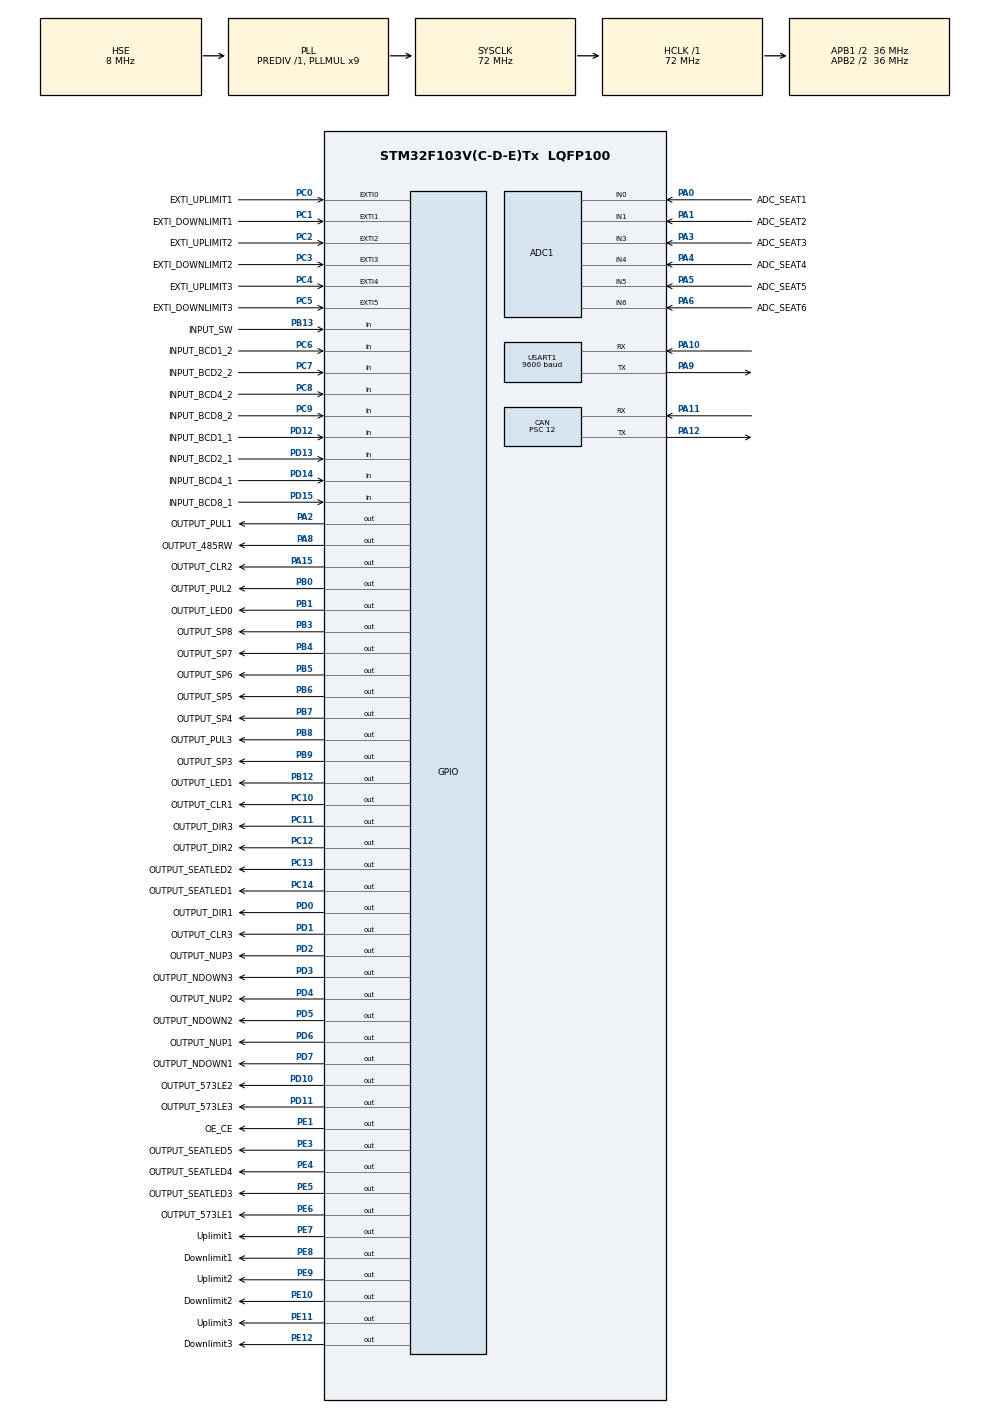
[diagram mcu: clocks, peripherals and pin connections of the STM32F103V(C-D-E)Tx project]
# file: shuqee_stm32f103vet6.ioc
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ADC1.Channel-0\#ChannelRegularConversion=ADC_CHANNEL_0
ADC1.Channel-1\#ChannelRegularConversion=ADC_CHANNEL_1
ADC1.Channel-2\#ChannelRegularConversion=ADC_CHANNEL_3
ADC1.Channel-3\#ChannelRegularConversion=ADC_CHANNEL_4
ADC1.Channel-4\#ChannelRegularConversion=ADC_CHANNEL_5
ADC1.Channel-5\#ChannelRegularConversion=ADC_CHANNEL_6
ADC1.ContinuousConvMode=ENABLE
ADC1.DataAlign=ADC_DATAALIGN_RIGHT
ADC1.DiscontinuousConvMode=DISABLE
ADC1.EnableAnalogWatchDog=false
ADC1.EnableRegularConversion=ENABLE
ADC1.ExternalTrigConv=ADC_SOFTWARE_START
ADC1.InjNumberOfConversion=0
ADC1.NbrOfConversion=6
ADC1.NbrOfConversionFlag=1
ADC1.Rank-0\#ChannelRegularConversion=1
ADC1.Rank-1\#ChannelRegularConversion=2
ADC1.Rank-2\#ChannelRegularConversion=3
ADC1.Rank-3\#ChannelRegularConversion=4
ADC1.Rank-4\#ChannelRegularConversion=5
ADC1.Rank-5\#ChannelRegularConversion=6
ADC1.SamplingTime-0\#ChannelRegularConversion=ADC_SAMPLETIME_239CYCLES_5
ADC1.SamplingTime-1\#ChannelRegularConversion=ADC_SAMPLETIME_239CYCLES_5
ADC1.SamplingTime-2\#ChannelRegularConversion=ADC_SAMPLETIME_239CYCLES_5
ADC1.SamplingTime-3\#ChannelRegularConversion=ADC_SAMPLETIME_239CYCLES_5
ADC1.SamplingTime-4\#ChannelRegularConversion=ADC_SAMPLETIME_239CYCLES_5
ADC1.SamplingTime-5\#ChannelRegularConversion=ADC_SAMPLETIME_239CYCLES_5
ADC1.ScanConvMode=ADC_SCAN_ENABLE
ADC1.master=1
CAN.BS1=CAN_BS1_5TQ
CAN.BS2=CAN_BS2_6TQ
CAN.CalculateTimeBit=4000
CAN.CalculateTimeQuantum=333.33333333333337
CAN.Prescaler=12
Dma.ADC1.0.Direction=DMA_PERIPH_TO_MEMORY
Dma.ADC1.0.Instance=DMA1_Channel1
Dma.ADC1.0.MemDataAlignment=DMA_MDATAALIGN_HALFWORD
Dma.ADC1.0.MemInc=DMA_MINC_ENABLE
Dma.ADC1.0.Mode=DMA_CIRCULAR
Dma.ADC1.0.PeriphDataAlignment=DMA_PDATAALIGN_HALFWORD
Dma.ADC1.0.PeriphInc=DMA_PINC_DISABLE
Dma.ADC1.0.Priority=DMA_PRIORITY_LOW
Dma.Request0=ADC1
Mcu.Family=STM32F1
Mcu.Name=STM32F103V(C-D-E)Tx
Mcu.Package=LQFP100
NVIC.DMA1_Channel1_IRQn=true\:4\:0\:true\:false\:true\:true
NVIC.EXTI0_IRQn=true\:0\:0\:false\:false\:true\:true
NVIC.EXTI1_IRQn=true\:0\:0\:false\:false\:true\:true
NVIC.EXTI2_IRQn=true\:0\:0\:false\:false\:true\:true
NVIC.EXTI3_IRQn=true\:0\:0\:false\:false\:true\:true
NVIC.EXTI4_IRQn=true\:0\:0\:false\:false\:true\:true
NVIC.EXTI9_5_IRQn=true\:0\:0\:true\:false\:true\:true
NVIC.PriorityGroup=NVIC_PRIORITYGROUP_4
NVIC.TIM1_UP_IRQn=true\:1\:0\:true\:false\:true\:true
NVIC.TIM2_IRQn=true\:1\:0\:true\:false\:true\:true
NVIC.TIM3_IRQn=true\:1\:0\:true\:false\:true\:true
NVIC.USB_LP_CAN1_RX0_IRQn=true\:2\:0\:true\:false\:true\:true
OSC_IN.Mode=HSE-External-Oscillator
OSC_IN.Signal=RCC_OSC_IN
OSC_OUT.Mode=HSE-External-Oscillator
OSC_OUT.Signal=RCC_OSC_OUT
PA0-WKUP.GPIO_Label=ADC_SEAT1
PA0-WKUP.Signal=ADCx_IN0
PA1.GPIO_Label=ADC_SEAT2
PA1.Signal=ADCx_IN1
PA10.Mode=Asynchronous
PA10.Signal=USART1_RX
PA11.Mode=Master
PA11.Signal=CAN_RX
PA12.Mode=Master
PA12.Signal=CAN_TX
PA13.Mode=Serial_Wire
PA13.Signal=SYS_JTMS-SWDIO
PA14.Mode=Serial_Wire
PA14.Signal=SYS_JTCK-SWCLK
PA15.GPIO_Label=OUTPUT_CLR2
PA15.GPIO_Speed=GPIO_SPEED_FREQ_HIGH
PA15.Signal=GPIO_Output
PA2.GPIO_Label=OUTPUT_PUL1
PA2.GPIO_Speed=GPIO_SPEED_FREQ_HIGH
PA2.Signal=GPIO_Output
PA3.GPIO_Label=ADC_SEAT3
PA3.Signal=ADCx_IN3
PA4.GPIO_Label=ADC_SEAT4
PA4.Signal=ADCx_IN4
PA5.GPIO_Label=ADC_SEAT5
PA5.Signal=ADCx_IN5
PA6.GPIO_Label=ADC_SEAT6
PA6.Signal=ADCx_IN6
PA8.GPIO_Label=OUTPUT_485RW
PA8.GPIO_Speed=GPIO_SPEED_FREQ_HIGH
PA8.PinState=GPIO_PIN_SET
PA8.Signal=GPIO_Output
PA9.Mode=Asynchronous
PA9.Signal=USART1_TX
PB0.GPIO_Label=OUTPUT_PUL2
PB0.GPIO_Speed=GPIO_SPEED_FREQ_HIGH
PB0.Signal=GPIO_Output
PB1.GPIO_Label=OUTPUT_LED0
PB1.GPIO_Speed=GPIO_SPEED_FREQ_HIGH
PB1.Signal=GPIO_Output
PB12.GPIO_Label=OUTPUT_LED1
PB12.GPIO_Speed=GPIO_SPEED_FREQ_HIGH
PB12.Signal=GPIO_Output
PB13.GPIO_Label=INPUT_SW
PB13.Signal=GPIO_Input
PB3.GPIO_Label=OUTPUT_SP8
PB3.GPIO_Speed=GPIO_SPEED_FREQ_HIGH
PB3.PinState=GPIO_PIN_SET
PB3.Signal=GPIO_Output
PB4.GPIO_Label=OUTPUT_SP7
PB4.GPIO_Speed=GPIO_SPEED_FREQ_HIGH
PB4.PinState=GPIO_PIN_SET
PB4.Signal=GPIO_Output
PB5.GPIO_Label=OUTPUT_SP6
PB5.GPIO_Speed=GPIO_SPEED_FREQ_HIGH
PB5.PinState=GPIO_PIN_SET
PB5.Signal=GPIO_Output
PB6.GPIO_Label=OUTPUT_SP5
PB6.GPIO_Speed=GPIO_SPEED_FREQ_HIGH
PB6.PinState=GPIO_PIN_SET
PB6.Signal=GPIO_Output
PB7.GPIO_Label=OUTPUT_SP4
PB7.GPIO_Speed=GPIO_SPEED_FREQ_HIGH
PB7.PinState=GPIO_PIN_SET
PB7.Signal=GPIO_Output
PB8.GPIO_Label=OUTPUT_PUL3
PB8.GPIO_Speed=GPIO_SPEED_FREQ_HIGH
PB8.Signal=GPIO_Output
PB9.GPIO_Label=OUTPUT_SP3
PB9.GPIO_Speed=GPIO_SPEED_FREQ_HIGH
PB9.PinState=GPIO_PIN_SET
PB9.Signal=GPIO_Output
PC0.GPIO_Label=EXTI_UPLIMIT1
PC0.GPIO_ModeDefaultEXTI=GPIO_MODE_IT_RISING_FALLING
PC0.Signal=GPXTI0
PC1.GPIO_Label=EXTI_DOWNLIMIT1
PC1.GPIO_ModeDefaultEXTI=GPIO_MODE_IT_RISING_FALLING
PC1.Signal=GPXTI1
PC10.GPIO_Label=OUTPUT_CLR1
PC10.GPIO_Speed=GPIO_SPEED_FREQ_HIGH
PC10.Signal=GPIO_Output
PC11.GPIO_Label=OUTPUT_DIR3
PC11.GPIO_Speed=GPIO_SPEED_FREQ_HIGH
PC11.Signal=GPIO_Output
PC12.GPIO_Label=OUTPUT_DIR2
PC12.GPIO_Speed=GPIO_SPEED_FREQ_HIGH
PC12.Signal=GPIO_Output
PC13-TAMPER-RTC.GPIO_Label=OUTPUT_SEATLED2
PC13-TAMPER-RTC.GPIO_Speed=GPIO_SPEED_FREQ_HIGH
PC13-TAMPER-RTC.Signal=GPIO_Output
PC14-OSC32_IN.GPIO_Label=OUTPUT_SEATLED1
PC14-OSC32_IN.GPIO_Speed=GPIO_SPEED_FREQ_HIGH
PC14-OSC32_IN.Signal=GPIO_Output
PC2.GPIO_Label=EXTI_UPLIMIT2
PC2.GPIO_ModeDefaultEXTI=GPIO_MODE_IT_RISING_FALLING
PC2.Signal=GPXTI2
PC3.GPIO_Label=EXTI_DOWNLIMIT2
PC3.GPIO_ModeDefaultEXTI=GPIO_MODE_IT_RISING_FALLING
PC3.Signal=GPXTI3
PC4.GPIO_Label=EXTI_UPLIMIT3
PC4.GPIO_ModeDefaultEXTI=GPIO_MODE_IT_RISING_FALLING
PC4.Signal=GPXTI4
PC5.GPIO_Label=EXTI_DOWNLIMIT3
PC5.GPIO_ModeDefaultEXTI=GPIO_MODE_IT_RISING_FALLING
PC5.Signal=GPXTI5
PC6.GPIO_Label=INPUT_BCD1_2
PC6.Signal=GPIO_Input
PC7.GPIO_Label=INPUT_BCD2_2
PC7.Signal=GPIO_Input
PC8.GPIO_Label=INPUT_BCD4_2
PC8.Signal=GPIO_Input
PC9.GPIO_Label=INPUT_BCD8_2
PC9.Signal=GPIO_Input
PD0.GPIO_Label=OUTPUT_DIR1
PD0.GPIO_Speed=GPIO_SPEED_FREQ_HIGH
PD0.Signal=GPIO_Output
PD1.GPIO_Label=OUTPUT_CLR3
PD1.GPIO_Speed=GPIO_SPEED_FREQ_HIGH
PD1.Signal=GPIO_Output
PD10.GPIO_Label=OUTPUT_573LE2
PD10.GPIO_Speed=GPIO_SPEED_FREQ_HIGH
PD10.PinState=GPIO_PIN_RESET
PD10.Signal=GPIO_Output
PD11.GPIO_Label=OUTPUT_573LE3
PD11.GPIO_Speed=GPIO_SPEED_FREQ_HIGH
PD11.PinState=GPIO_PIN_RESET
PD11.Signal=GPIO_Output
PD12.GPIO_Label=INPUT_BCD1_1
PD12.Signal=GPIO_Input
PD13.GPIO_Label=INPUT_BCD2_1
PD13.Signal=GPIO_Input
PD14.GPIO_Label=INPUT_BCD4_1
PD14.Signal=GPIO_Input
PD15.GPIO_Label=INPUT_BCD8_1
PD15.Signal=GPIO_Input
PD2.GPIO_Label=OUTPUT_NUP3
PD2.GPIO_Speed=GPIO_SPEED_FREQ_HIGH
PD2.Signal=GPIO_Output
PD3.GPIO_Label=OUTPUT_NDOWN3
PD3.GPIO_Speed=GPIO_SPEED_FREQ_HIGH
PD3.Signal=GPIO_Output
PD4.GPIO_Label=OUTPUT_NUP2
PD4.GPIO_Speed=GPIO_SPEED_FREQ_HIGH
PD4.Signal=GPIO_Output
PD5.GPIO_Label=OUTPUT_NDOWN2
PD5.GPIO_Speed=GPIO_SPEED_FREQ_HIGH
PD5.Signal=GPIO_Output
PD6.GPIO_Label=OUTPUT_NUP1
PD6.GPIO_Speed=GPIO_SPEED_FREQ_HIGH
PD6.Signal=GPIO_Output
PD7.GPIO_Label=OUTPUT_NDOWN1
PD7.GPIO_Speed=GPIO_SPEED_FREQ_HIGH
PD7.Signal=GPIO_Output
PE1.GPIO_Label=OE_CE
PE1.Signal=GPIO_Output
PE10.GPIO_Label=Downlimit2
PE10.GPIO_Speed=GPIO_SPEED_FREQ_HIGH
PE10.PinState=GPIO_PIN_SET
PE10.Signal=GPIO_Output
PE11.GPIO_Label=Uplimit3
PE11.GPIO_Speed=GPIO_SPEED_FREQ_HIGH
PE11.PinState=GPIO_PIN_SET
PE11.Signal=GPIO_Output
PE12.GPIO_Label=Downlimit3
PE12.GPIO_Speed=GPIO_SPEED_FREQ_HIGH
PE12.PinState=GPIO_PIN_SET
PE12.Signal=GPIO_Output
PE3.GPIO_Label=OUTPUT_SEATLED5
PE3.GPIO_Speed=GPIO_SPEED_FREQ_HIGH
PE3.PinState=GPIO_PIN_RESET
PE3.Signal=GPIO_Output
PE4.GPIO_Label=OUTPUT_SEATLED4
PE4.GPIO_Speed=GPIO_SPEED_FREQ_HIGH
PE4.Signal=GPIO_Output
PE5.GPIO_Label=OUTPUT_SEATLED3
PE5.GPIO_Speed=GPIO_SPEED_FREQ_HIGH
PE5.Signal=GPIO_Output
PE6.GPIO_Label=OUTPUT_573LE1
PE6.GPIO_Speed=GPIO_SPEED_FREQ_HIGH
PE6.PinState=GPIO_PIN_RESET
PE6.Signal=GPIO_Output
PE7.GPIO_Label=Uplimit1
PE7.GPIO_Speed=GPIO_SPEED_FREQ_HIGH
PE7.PinState=GPIO_PIN_SET
PE7.Signal=GPIO_Output
PE8.GPIO_Label=Downlimit1
PE8.GPIO_Speed=GPIO_SPEED_FREQ_HIGH
PE8.PinState=GPIO_PIN_SET
PE8.Signal=GPIO_Output
PE9.GPIO_Label=Uplimit2
PE9.GPIO_Speed=GPIO_SPEED_FREQ_HIGH
PE9.PinState=GPIO_PIN_SET
PE9.Signal=GPIO_Output
ProjectManager.HeapSize=0x200
ProjectManager.StackSize=0x400
ProjectManager.TargetToolchain=MDK-ARM V5
RCC.ADCPresc=RCC_ADCPCLK2_DIV8
RCC.AHBFreq_Value=72000000
RCC.APB1CLKDivider=RCC_HCLK_DIV2
RCC.APB1Freq_Value=36000000
RCC.APB1TimFreq_Value=72000000
RCC.APB2CLKDivider=RCC_HCLK_DIV2
RCC.APB2Freq_Value=36000000
RCC.APB2TimFreq_Value=72000000
RCC.HCLKFreq_Value=72000000
RCC.PLLMUL=RCC_PLL_MUL9
RCC.PLLSourceVirtual=RCC_PLLSOURCE_HSE
RCC.SYSCLKFreq_VALUE=72000000
RCC.SYSCLKSource=RCC_SYSCLKSOURCE_PLLCLK
RCC.USBFreq_Value=72000000
SH.ADCx_IN0.0=ADC1_IN0,IN0
SH.ADCx_IN1.0=ADC1_IN1,IN1
SH.ADCx_IN3.0=ADC1_IN3,IN3
SH.ADCx_IN4.0=ADC1_IN4,IN4
SH.ADCx_IN5.0=ADC1_IN5,IN5
SH.ADCx_IN6.0=ADC1_IN6,IN6
TIM1.Period=999
TIM1.Prescaler=71
TIM2.Period=999
TIM2.Prescaler=71
TIM3.Period=999
TIM3.Prescaler=71
USART1.BaudRate=9600
USART1.VirtualMode=VM_ASYNC
VP_IWDG_VS_IWDG.Mode=IWDG_Activate
VP_TIM1_VS_ClockSourceINT.Mode=Internal
VP_TIM2_VS_ClockSourceINT.Mode=Internal
VP_TIM3_VS_ClockSourceINT.Mode=Internal
board=shuqee_stm32f103vet6

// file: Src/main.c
/**
  ******************************************************************************
  * File Name          : main.c
  * Description        : Main program body
  ******************************************************************************
  ** This notice applies to any and all portions of this file
  * that are not between comment pairs USER CODE BEGIN and
  * USER CODE END. Other portions of this file, whether
  * inserted by the user or by software development tools
  * are owned by their respective copyright owners.
  *
  * COPYRIGHT(c) 2018 STMicroelectronics
  *
  * Redistribution and use in source and binary forms, with or without modification,
  * are permitted provided that the following conditions are met:
  *   1. Redistributions of source code must retain the above copyright notice,
  *      this list of conditions and the following disclaimer.
  *   2. Redistributions in binary form must reproduce the above copyright notice,
  *      this list of conditions and the following disclaimer in the documentation
  *      and/or other materials provided with the distribution.
  *   3. Neither the name of STMicroelectronics nor the names of its contributors
  *      may be used to endorse or promote products derived from this software
  *      without specific prior written permission.
  *
  * THIS SOFTWARE IS PROVIDED BY THE COPYRIGHT HOLDERS AND CONTRIBUTORS "AS IS"
  * AND ANY EXPRESS OR IMPLIED WARRANTIES, INCLUDING, BUT NOT LIMITED TO, THE
  * IMPLIED WARRANTIES OF MERCHANTABILITY AND FITNESS FOR A PARTICULAR PURPOSE ARE
  * DISCLAIMED. IN NO EVENT SHALL THE COPYRIGHT HOLDER OR CONTRIBUTORS BE LIABLE
  * FOR ANY DIRECT, INDIRECT, INCIDENTAL, SPECIAL, EXEMPLARY, OR CONSEQUENTIAL
  * DAMAGES (INCLUDING, BUT NOT LIMITED TO, PROCUREMENT OF SUBSTITUTE GOODS OR
  * SERVICES; LOSS OF USE, DATA, OR PROFITS; OR BUSINESS INTERRUPTION) HOWEVER
  * CAUSED AND ON ANY THEORY OF LIABILITY, WHETHER IN CONTRACT, STRICT LIABILITY,
  * OR TORT (INCLUDING NEGLIGENCE OR OTHERWISE) ARISING IN ANY WAY OUT OF THE USE
  * OF THIS SOFTWARE, EVEN IF ADVISED OF THE POSSIBILITY OF SUCH DAMAGE.
  *
  ******************************************************************************
  */

#include "main.h"
#include "stm32f1xx_hal.h"

/* USER CODE BEGIN Includes */
#include "user_config.h"
#include "user_io.h"
#include "user_time.h"
#include "user_uart.h"
#include "user_can.h"
#include <string.h>

/* USER CODE END Includes */

ADC_HandleTypeDef hadc1;
DMA_HandleTypeDef hdma_adc1;

CAN_HandleTypeDef hcan;

IWDG_HandleTypeDef hiwdg;

TIM_HandleTypeDef htim1;
TIM_HandleTypeDef htim2;
TIM_HandleTypeDef htim3;

UART_HandleTypeDef huart1;

/* USER CODE BEGIN PV */
/* Private variables ---------------------------------------------------------*/

struct motion_status motion[MOTION_COUNT] = {MOTION1};
struct status status = {0};
int flag_rst = 0;	//reset flag
uint8_t f1,f2,f3,f4,f5,f6;
/* USER CODE END PV */

void SystemClock_Config(void);
static void MX_GPIO_Init(void);
static void MX_DMA_Init(void);
static void MX_ADC1_Init(void);
static void MX_TIM1_Init(void);
static void MX_TIM2_Init(void);
static void MX_TIM3_Init(void);
static void MX_USART1_UART_Init(void);
static void MX_IWDG_Init(void);
static void MX_CAN_Init(void);

/* USER CODE BEGIN PFP */
/* Private function prototypes -----------------------------------------------*/

/* USER CODE END PFP */

/* USER CODE BEGIN 0 */

void delay_ns(uint32_t times)
{
	while(times--);
}

void delay_us(uint32_t times)
{
	int i;
	uint32_t count;
	for(i=0; i<10; i++)
	{
		count = times;
		while(count--);
	}
}

void delay_ms(uint32_t times)
{
	uint32_t count;
	count = times;
	while(count--)
		delay_us(1000);
}

#ifdef ENV_RESET
void find_origin(void) /* reset function */
{
	enum motion_num i;
	uint8_t downlimit_temp = 0;
	int def_high[MOTION_COUNT] = {0};
	int find_origin_step[MOTION_COUNT] = {0};
	for(i=MOTION1; i<MOTION_COUNT; i++)
	flag_rst |= 1<<i; /* 初始化复位标�?(缸对应位初始值为1,复位后缸对应位为0) */
#ifndef MOTION1_ENABLE
	flag_rst &= ~(1<<MOTION1);
#endif
#ifndef MOTION2_ENABLE
	flag_rst &= ~(1<<MOTION2);
#endif
#ifndef MOTION3_ENABLE
	flag_rst &= ~(1<<MOTION3);
#endif
	while(flag_rst)	/* 仍有缸未复位 */
	{
		for(i=MOTION1; i<MOTION_COUNT; i++)
		{
			if((flag_rst&(1<<i)) != 0)	/* 未复�? */
			{
				SAFE(downlimit_temp = status.downlimit[i]);
				switch (find_origin_step[i])
				{
					case 0:
						if (i == MOTION1)
						{
							LED_SEAT1(1);
							LED_SEAT2(1);
						}
						if (i == MOTION3)
						{
							LED_SEAT3(1);
							LED_SEAT4(1);
						}
						if (downlimit_temp == 0) /* 缸未到底 */
						{
							HAL_GPIO_WritePin(motion[i].io.ndown_port, motion[i].io.ndown_pin, GPIO_PIN_SET); /* 允许下降 */
							set_pul(i, (GPIO_PinState)1, 200, 1); /* 向下运动 */
						}
						else
						{
							++find_origin_step[i];
						}
						break;
					case 1:
						if (i == MOTION1)
						{
							LED_SEAT1(0);
							LED_SEAT2(1);
						}
						if (i == MOTION3)
						{
							LED_SEAT3(0);
							LED_SEAT4(1);
						}
						if (downlimit_temp == 1) /* 缸到�? */
						{
							HAL_GPIO_WritePin(motion[i].io.nup_port, motion[i].io.nup_pin, GPIO_PIN_SET); /* 允许上升 */
							set_pul(i, (GPIO_PinState)0, 200, 1); /* 向上运动 */
						}
						else
						{
							++find_origin_step[i];
						}
						break;
					case 2:
						if (i == MOTION1)
						{
							LED_SEAT1(1);
							LED_SEAT2(0);
						}
						if (i == MOTION3)
						{
							LED_SEAT3(1);
							LED_SEAT4(0);
						}
						if (downlimit_temp == 0) /* 缸未到底 */
						{
							HAL_GPIO_WritePin(motion[i].io.ndown_port, motion[i].io.ndown_pin, GPIO_PIN_SET); /* 允许下降 */
							set_pul(i, (GPIO_PinState)1, 200, 1); /* 向下运动 */
						}
						else
						{
							HAL_GPIO_WritePin(motion[i].io.nup_port, motion[i].io.nup_pin, GPIO_PIN_SET); /* 允许上升 */
							++find_origin_step[i];
						}
						break;
					case 3:
						if (i == MOTION1)
						{
							LED_SEAT1(0);
							LED_SEAT2(0);
						}
						if (i == MOTION3)
						{
							LED_SEAT3(0);
							LED_SEAT4(0);
						}
						if (motion[i].config.adj == 0) /* 不需要校�? */
							flag_rst &= ~(1<<i); /* 标志复位完成 */
						else
						{
							def_high[i] = motion[i].config.adj * ENV_SPACE;	/* 初始化校正高�? */
							++find_origin_step[i];
						}
						break;
					case 4:
						if (i == MOTION1)
						{
							LED_SEAT1(0);
							LED_SEAT2(0);
						}
						if (i == MOTION3)
						{
							LED_SEAT3(0);
							LED_SEAT4(0);
						}
						if(def_high[i] != 0)
						{
							set_pul(i, (GPIO_PinState)0, 200, 1); /* 向上运动 */
							def_high[i]--;
							if(def_high[i] == 0) /* 运动到指定位�? */
							{
								flag_rst &= ~(1<<i); /* 标志复位完成 */
							}
						}
						break;
					default:
						find_origin_step[i] = 0;
						break;
				}
			}
		}
#ifdef ENV_IWDG
		HAL_IWDG_Refresh(&hiwdg); /* have to refresh the iwdg */
#endif
	}
}
#endif

void exchange_nup_ndown(enum motion_num index)
{
	GPIO_TypeDef * temp_port;
	uint16_t temp_pin;
	temp_port = motion[index].io.nup_port;
	temp_pin = motion[index].io.nup_pin;
	motion[index].io.nup_port = motion[index].io.ndown_port;
	motion[index].io.nup_pin = motion[index].io.ndown_pin;
	motion[index].io.ndown_port = temp_port;
	motion[index].io.ndown_pin = temp_pin;
}

void user_motion_init(void)
{
	enum motion_num i;

	motion[MOTION1].io.dir_port = OUTPUT_DIR1_GPIO_Port;
	motion[MOTION1].io.dir_pin = OUTPUT_DIR1_Pin;
	motion[MOTION1].io.pul_port = OUTPUT_PUL1_GPIO_Port;
	motion[MOTION1].io.pul_pin = OUTPUT_PUL1_Pin;
	motion[MOTION1].io.nup_port = OUTPUT_NUP1_GPIO_Port;
	motion[MOTION1].io.nup_pin = OUTPUT_NUP1_Pin;
	motion[MOTION1].io.ndown_port = OUTPUT_NDOWN1_GPIO_Port;
	motion[MOTION1].io.ndown_pin = OUTPUT_NDOWN1_Pin;
	motion[MOTION2].io.dir_port = OUTPUT_DIR2_GPIO_Port;
	motion[MOTION2].io.dir_pin = OUTPUT_DIR2_Pin;
	motion[MOTION2].io.pul_port = OUTPUT_PUL2_GPIO_Port;
	motion[MOTION2].io.pul_pin = OUTPUT_PUL2_Pin;
	motion[MOTION2].io.nup_port = OUTPUT_NUP2_GPIO_Port;
	motion[MOTION2].io.nup_pin = OUTPUT_NUP2_Pin;
	motion[MOTION2].io.ndown_port = OUTPUT_NDOWN2_GPIO_Port;
	motion[MOTION2].io.ndown_pin = OUTPUT_NDOWN2_Pin;
	motion[MOTION3].io.dir_port = OUTPUT_DIR3_GPIO_Port;
	motion[MOTION3].io.dir_pin = OUTPUT_DIR3_Pin;
	motion[MOTION3].io.pul_port = OUTPUT_PUL3_GPIO_Port;
	motion[MOTION3].io.pul_pin = OUTPUT_PUL3_Pin;
	motion[MOTION3].io.nup_port = OUTPUT_NUP3_GPIO_Port;
	motion[MOTION3].io.nup_pin = OUTPUT_NUP3_Pin;
	motion[MOTION3].io.ndown_port = OUTPUT_NDOWN3_GPIO_Port;
	motion[MOTION3].io.ndown_pin = OUTPUT_NDOWN3_Pin;

	motion[MOTION1].config.dir = MOTION1_CONFIG_DIR;
	motion[MOTION2].config.dir = MOTION2_CONFIG_DIR;
	motion[MOTION3].config.dir = MOTION3_CONFIG_DIR;

	motion[MOTION1].config.origin = MOTION1_CONFIG_ORIGIN;
	motion[MOTION2].config.origin = MOTION2_CONFIG_ORIGIN;
	motion[MOTION3].config.origin = MOTION3_CONFIG_ORIGIN;

	motion[MOTION1].config.adj = MOTION1_CONFIG_ADJ;
	motion[MOTION2].config.adj = MOTION2_CONFIG_ADJ;
	motion[MOTION3].config.adj = MOTION3_CONFIG_ADJ;

	for (i=MOTION1; i<MOTION_COUNT; i++)
	{
		motion[i].index = i;
		motion[i].high.set = motion[i].config.origin * ENV_SPACE;
		if (motion[i].config.dir == GPIO_PIN_SET) /* 如果脉冲方向取反 */
			exchange_nup_ndown(i); /* 正反转禁止对应引脚取�? */
	}
#ifdef ENV_RESET
	find_origin();
#endif
}

#ifdef ENV_NOSENSOR
void free_ndown(void)
{
	enum motion_num i;
	for (i=MOTION1; i<MOTION_COUNT; i++)
	{
		if (motion[i].high.now >= 0 * ENV_SPACE)
			HAL_GPIO_WritePin(motion[i].io.ndown_port, motion[i].io.ndown_pin, GPIO_PIN_SET); /* 允许下降 */
	}
}
void free_nup(void)
{
	enum motion_num i;
	for (i=MOTION1; i<MOTION_COUNT; i++)
	{
		if (motion[i].high.now <= 255 * ENV_SPACE)
			HAL_GPIO_WritePin(motion[i].io.nup_port, motion[i].io.nup_pin, GPIO_PIN_SET); /* 允许上升 */
	}
}
#else
void free_ndown(void)
{
	enum motion_num i;
	for (i=MOTION1; i<MOTION_COUNT; i++)
	{
		if (status.downlimit[i] == 0)
			HAL_GPIO_WritePin(motion[i].io.ndown_port, motion[i].io.ndown_pin, GPIO_PIN_SET); /* 允许下降 */
	}
}
void free_nup(void)
{
	enum motion_num i;
	for (i=MOTION1; i<MOTION_COUNT; i++)
	{
		if (status.uplimit[i] == 0)
			HAL_GPIO_WritePin(motion[i].io.nup_port, motion[i].io.nup_pin, GPIO_PIN_SET); /* 允许上升 */
	}
}
#endif

/* USER CODE END 0 */

int main(void)
{

  /* USER CODE BEGIN 1 */
	static int led_count = 0;
#ifdef ENV_SEAT_PICKING
	static uint8_t seat_picking = 0;
#endif
#ifdef ENV_SEND_SEAT_INFO
	static uint8_t send_seat = 0;
	static uint8_t send_buf[4] = {0xff,0xc1}; /* 回复帧头 */
	static int send_index = 0;
#endif
	uint8_t update; /* 串口数据更新标志 */
	uint8_t init_flag = 0; /* 初始化标准位 */
  /* USER CODE END 1 */

  /* MCU Configuration----------------------------------------------------------*/

  /* Reset of all peripherals, Initializes the Flash interface and the Systick. */
  HAL_Init();

  /* Configure the system clock */
  SystemClock_Config();

  /* USER CODE BEGIN SysInit */
#ifdef ENV_IWDG
  /* USER CODE END SysInit */

  /* Initialize all configured peripherals */
  MX_GPIO_Init();
  MX_DMA_Init();
  MX_ADC1_Init();
  MX_TIM1_Init();
  MX_TIM2_Init();
  MX_TIM3_Init();
  MX_USART1_UART_Init();
  MX_IWDG_Init();
  MX_CAN_Init();

  /* USER CODE BEGIN 2 */
#else

  /* Initialize all configured peripherals */
  MX_GPIO_Init();
  MX_DMA_Init();
  MX_ADC1_Init();
  MX_TIM1_Init();
  MX_TIM2_Init();
  MX_TIM3_Init();
  MX_USART1_UART_Init();
	MX_CAN_Init();
  /* MX_IWDG_Init(); */

#endif
  /* USER CODE END 2 */

  /* Infinite loop */
  while (1)
  {

  /* USER CODE BEGIN 3 */

	memset((void *)motion, 0 ,sizeof(motion));
	status.id = 0;
	status.seat_num = 0;
	status.seat_enable = 0;
	status.spb = 0;
	led_count = 0;
#ifdef ENV_SEAT_PICKING
	seat_picking = 0;
#endif
#ifdef ENV_SEND_SEAT_INFO
	send_seat = 0;
	send_index = 0;
#endif
	user_io_init();
	user_motion_init();
  user_adc_start();
	user_time_init();
	user_can_init();
	user_uart_init();

	init_flag = 1;
	while (init_flag != 0)
	{
#ifdef ENV_IWDG
		HAL_IWDG_Refresh(&hiwdg);
#endif
		status.seat_enable = GET_SEAT_ENABLE();
		SAFE(status.seat_enable += status.seat_num);
		SAFE(update = frame.enable);
		SAFE(free_ndown());
		SAFE(free_nup());
		time_event();
		if(update) /* 串口数据更新 */
		{
			SAFE(frame.enable = 0);
			/*LED_START*/
			led_count++;
			led_count = led_count%10;
			if(led_count == 0)
			{
				LED_TOGGLE(); /* 闪烁指示�? */
			}
			/*LED_END*/
			/*SEAT_START*/
#ifdef ENV_SEAT_PICKING
			if (seat_picking == 0) /* 座椅未被选中 */
			{
				status.seat_enable = 0;
			}
#endif
			if(status.seat_enable) /* 座椅使能 */
			{
				SAFE(status.spb =msg_buff[SP_MSG_ID].date[1]); /* 更新特效 */
				f4=msg_buff[SP_MSG_ID].date[0];
				f5=msg_buff[SP_MSG_ID].date[1];
				f6=msg_buff[SP_MSG_ID].date[2];
#ifdef MOTION1_ENABLE
				SAFE(motion[MOTION1].high.set = msg_buff[HIGHT_MSG_ID].date[0] * ENV_SPACE); /* 更新目标位置 */
				f1=msg_buff[HIGHT_MSG_ID].date[0];
#else
				SAFE(motion[MOTION1].high.set = motion[MOTION1].config.origin * ENV_SPACE); /* 恢复目标位置 */
#endif
#ifdef MOTION2_ENABLE
				SAFE(motion[MOTION2].high.set = msg_buff[HIGHT_MSG_ID].date[1] * ENV_SPACE); /* 更新目标位置 */
				f2=msg_buff[HIGHT_MSG_ID].date[1];
#else
				SAFE(motion[MOTION2].high.set = motion[MOTION2].config.origin * ENV_SPACE); /* 恢复目标位置 */
#endif
#ifdef MOTION3_ENABLE
				SAFE(motion[MOTION3].high.set = msg_buff[HIGHT_MSG_ID].date[2] * ENV_SPACE); /* 更新目标位置 */
				f3=msg_buff[HIGHT_MSG_ID].date[2];
#else
				SAFE(motion[MOTION3].high.set = motion[MOTION3].config.origin * ENV_SPACE); /* 恢复目标位置 */
#endif
			}
			else
			{
				SAFE(motion[MOTION1].high.set = motion[MOTION1].config.origin * ENV_SPACE); /* 恢复目标位置 */
				SAFE(motion[MOTION2].high.set = motion[MOTION2].config.origin * ENV_SPACE); /* 恢复目标位置 */
				SAFE(motion[MOTION3].high.set = motion[MOTION3].config.origin * ENV_SPACE); /* 恢复目标位置 */
				SAFE(status.spb = msg_buff[SP_MSG_ID].date[1]); /* 更新特效 */
#ifdef ENV_SWING_LINK
				SAFE(status.spb &= SPB_AIR_INJECTION_MASK); /* 恢复特效 */
#else
				SAFE(status.spb = 0); /* 恢复特效 */
#endif
			}
			status.id = 0; /* 更新id */
			if(GET_ID_1())
				status.id = status.id + 1;
			if(GET_ID_2())
				status.id = status.id + 2;
			if(GET_ID_4())
				status.id = status.id + 4;
			if(GET_ID_8())
				status.id = status.id + 8;
			if(GET_ID_10())
				status.id = status.id + 10;
			if(GET_ID_20())
				status.id = status.id + 20;
			if(GET_ID_40())
				status.id = status.id + 40;
			if(GET_ID_80())
				status.id = status.id + 80;
#ifdef ENV_SEAT_PICKING
			if (msg_buff[SP_MSG_ID].date[2] == 0xAA) /* 选中�?有座�? */
			{
				seat_picking = 1;
			}
			else if (msg_buff[SP_MSG_ID].date[2]== 0x00) /* 取消选中�?有座�? */
			{
				seat_picking = 0;
			}
			else if (msg_buff[SP_MSG_ID].date[2] == status.id) /* 根据ID选中座椅 */
			{
				seat_picking = 1;
			}
			else
			{
				; /* 维持当前选中或未选中状�?? */
			}
#endif
#ifdef ENV_SEND_SEAT_INFO
			if(msg_buff[SP_MSG_ID].date[2] == status.id) /* 判断座椅编号 */
			{
				if (msg_buff[SP_MSG_ID].date[2] != 0x00)
				{
					send_seat = 1;
					send_buf[2] = status.id;
					SAFE(send_buf[3] = status.seat_num);
				}
			}
#endif
			/*SEAT_END*/
				/*test*/
	HAL_GPIO_WritePin(OUTPUT_485RW_GPIO_Port, OUTPUT_485RW_Pin, GPIO_PIN_RESET);
	printf("\r\nthe HIGHT is %x  %x  %x  %x  %x!\r\n",f1,f2,f3,f4,f5);
		}
		/*SEND_SEAT_START*/
#ifdef ENV_SEND_SEAT_INFO
		if(send_seat)
		{
			HAL_GPIO_WritePin(OUTPUT_485RW_GPIO_Port, OUTPUT_485RW_Pin, GPIO_PIN_RESET); /* 485发�?? */
			if(send_index == 0 || __HAL_UART_GET_FLAG(&huart1, UART_FLAG_TXE) != RESET)
			{
				huart1.Instance->DR = send_buf[send_index];
				send_index++;
			}
			if(send_index == 4)
			{
				send_index = 0;
				send_seat = 0;
			}
		}
		else
		{
			if(__HAL_UART_GET_FLAG(&huart1, UART_FLAG_TXE) != RESET)
			HAL_GPIO_WritePin(OUTPUT_485RW_GPIO_Port, OUTPUT_485RW_Pin, GPIO_PIN_SET); /* 485接收 */
		}
#endif
		/*SEND_SEAT_END*/
		/*SPB_START*/
		SPB3(status.spb&(1<<2)); /* 更新特效到IO输出 */
		SPB4(status.spb&(1<<3));
		SPB5(status.spb&(1<<4));
		SPB6(status.spb&(1<<5));
		SPB7(status.spb&(1<<6));
		SPB8(status.spb&(1<<7));
		/*SPB_END*/
		/*RST_START*/
//		if (status.spb&0x01)
//		{
//			user_adc_stop();
//			user_time_stop();
//			user_uart_stop();
//			init_flag = 0;
//		}
//		else
//		{
//			/*RST_END*/
//			HAL_UART_Receive_IT(&huart1, (uint8_t *)&(frame.data), 1); /* 防止串口出错 */
//		}
	}
  }
  /* USER CODE END 3 */

}

/** System Clock Configuration
*/
void SystemClock_Config(void)
{

  RCC_OscInitTypeDef RCC_OscInitStruct;
  RCC_ClkInitTypeDef RCC_ClkInitStruct;
  RCC_PeriphCLKInitTypeDef PeriphClkInit;

    /**Initializes the CPU, AHB and APB busses clocks
    */
  RCC_OscInitStruct.OscillatorType = RCC_OSCILLATORTYPE_LSI|RCC_OSCILLATORTYPE_HSE;
  RCC_OscInitStruct.HSEState = RCC_HSE_ON;
  RCC_OscInitStruct.HSEPredivValue = RCC_HSE_PREDIV_DIV1;
  RCC_OscInitStruct.HSIState = RCC_HSI_ON;
  RCC_OscInitStruct.LSIState = RCC_LSI_ON;
  RCC_OscInitStruct.PLL.PLLState = RCC_PLL_ON;
  RCC_OscInitStruct.PLL.PLLSource = RCC_PLLSOURCE_HSE;
  RCC_OscInitStruct.PLL.PLLMUL = RCC_PLL_MUL9;
  if (HAL_RCC_OscConfig(&RCC_OscInitStruct) != HAL_OK)
  {
    _Error_Handler(__FILE__, __LINE__);
  }

    /**Initializes the CPU, AHB and APB busses clocks
    */
  RCC_ClkInitStruct.ClockType = RCC_CLOCKTYPE_HCLK|RCC_CLOCKTYPE_SYSCLK
                              |RCC_CLOCKTYPE_PCLK1|RCC_CLOCKTYPE_PCLK2;
  RCC_ClkInitStruct.SYSCLKSource = RCC_SYSCLKSOURCE_PLLCLK;
  RCC_ClkInitStruct.AHBCLKDivider = RCC_SYSCLK_DIV1;
  RCC_ClkInitStruct.APB1CLKDivider = RCC_HCLK_DIV2;
  RCC_ClkInitStruct.APB2CLKDivider = RCC_HCLK_DIV2;

  if (HAL_RCC_ClockConfig(&RCC_ClkInitStruct, FLASH_LATENCY_2) != HAL_OK)
  {
    _Error_Handler(__FILE__, __LINE__);
  }

  PeriphClkInit.PeriphClockSelection = RCC_PERIPHCLK_ADC;
  PeriphClkInit.AdcClockSelection = RCC_ADCPCLK2_DIV8;
  if (HAL_RCCEx_PeriphCLKConfig(&PeriphClkInit) != HAL_OK)
  {
    _Error_Handler(__FILE__, __LINE__);
  }

    /**Configure the Systick interrupt time
    */
  HAL_SYSTICK_Config(HAL_RCC_GetHCLKFreq()/1000);

    /**Configure the Systick
    */
  HAL_SYSTICK_CLKSourceConfig(SYSTICK_CLKSOURCE_HCLK);

  /* SysTick_IRQn interrupt configuration */
  HAL_NVIC_SetPriority(SysTick_IRQn, 5, 0);
}

/* ADC1 init function */
static void MX_ADC1_Init(void)
{

  ADC_ChannelConfTypeDef sConfig;

    /**Common config
    */
  hadc1.Instance = ADC1;
  hadc1.Init.ScanConvMode = ADC_SCAN_ENABLE;
  hadc1.Init.ContinuousConvMode = ENABLE;
  hadc1.Init.DiscontinuousConvMode = DISABLE;
  hadc1.Init.ExternalTrigConv = ADC_SOFTWARE_START;
  hadc1.Init.DataAlign = ADC_DATAALIGN_RIGHT;
  hadc1.Init.NbrOfConversion = 6;
  if (HAL_ADC_Init(&hadc1) != HAL_OK)
  {
    _Error_Handler(__FILE__, __LINE__);
  }

    /**Configure Regular Channel
    */
  sConfig.Channel = ADC_CHANNEL_0;
  sConfig.Rank = 1;
  sConfig.SamplingTime = ADC_SAMPLETIME_239CYCLES_5;
  if (HAL_ADC_ConfigChannel(&hadc1, &sConfig) != HAL_OK)
  {
    _Error_Handler(__FILE__, __LINE__);
  }

    /**Configure Regular Channel
    */
  sConfig.Channel = ADC_CHANNEL_1;
  sConfig.Rank = 2;
  if (HAL_ADC_ConfigChannel(&hadc1, &sConfig) != HAL_OK)
  {
    _Error_Handler(__FILE__, __LINE__);
  }

    /**Configure Regular Channel
    */
  sConfig.Channel = ADC_CHANNEL_3;
  sConfig.Rank = 3;
  if (HAL_ADC_ConfigChannel(&hadc1, &sConfig) != HAL_OK)
  {
    _Error_Handler(__FILE__, __LINE__);
  }

    /**Configure Regular Channel
    */
  sConfig.Channel = ADC_CHANNEL_4;
  sConfig.Rank = 4;
  if (HAL_ADC_ConfigChannel(&hadc1, &sConfig) != HAL_OK)
  {
    _Error_Handler(__FILE__, __LINE__);
  }

    /**Configure Regular Channel
    */
  sConfig.Channel = ADC_CHANNEL_5;
  sConfig.Rank = 5;
  if (HAL_ADC_ConfigChannel(&hadc1, &sConfig) != HAL_OK)
  {
    _Error_Handler(__FILE__, __LINE__);
  }

    /**Configure Regular Channel
    */
  sConfig.Channel = ADC_CHANNEL_6;
  sConfig.Rank = 6;
  if (HAL_ADC_ConfigChannel(&hadc1, &sConfig) != HAL_OK)
  {
    _Error_Handler(__FILE__, __LINE__);
  }

}

/* CAN init function */
static void MX_CAN_Init(void)
{

  hcan.Instance = CAN1;
  hcan.Init.Prescaler = 12;
  hcan.Init.Mode = CAN_MODE_NORMAL;
  hcan.Init.SJW = CAN_SJW_1TQ;
  hcan.Init.BS1 = CAN_BS1_5TQ;
  hcan.Init.BS2 = CAN_BS2_6TQ;
  hcan.Init.TTCM = DISABLE;
  hcan.Init.ABOM = DISABLE;
  hcan.Init.AWUM = DISABLE;
  hcan.Init.NART = DISABLE;
  hcan.Init.RFLM = DISABLE;
  hcan.Init.TXFP = DISABLE;
  if (HAL_CAN_Init(&hcan) != HAL_OK)
  {
    _Error_Handler(__FILE__, __LINE__);
  }

}

/* IWDG init function */
static void MX_IWDG_Init(void)
{

  hiwdg.Instance = IWDG;
  hiwdg.Init.Prescaler = IWDG_PRESCALER_4;
  hiwdg.Init.Reload = 4095;
  if (HAL_IWDG_Init(&hiwdg) != HAL_OK)
  {
    _Error_Handler(__FILE__, __LINE__);
  }

}

/* TIM1 init function */
static void MX_TIM1_Init(void)
{

  TIM_ClockConfigTypeDef sClockSourceConfig;
  TIM_MasterConfigTypeDef sMasterConfig;

  htim1.Instance = TIM1;
  htim1.Init.Prescaler = 71;
  htim1.Init.CounterMode = TIM_COUNTERMODE_UP;
  htim1.Init.Period = 999;
  htim1.Init.ClockDivision = TIM_CLOCKDIVISION_DIV1;
  htim1.Init.RepetitionCounter = 0;
  htim1.Init.AutoReloadPreload = TIM_AUTORELOAD_PRELOAD_DISABLE;
  if (HAL_TIM_Base_Init(&htim1) != HAL_OK)
  {
    _Error_Handler(__FILE__, __LINE__);
  }

  sClockSourceConfig.ClockSource = TIM_CLOCKSOURCE_INTERNAL;
  if (HAL_TIM_ConfigClockSource(&htim1, &sClockSourceConfig) != HAL_OK)
  {
    _Error_Handler(__FILE__, __LINE__);
  }

  sMasterConfig.MasterOutputTrigger = TIM_TRGO_RESET;
  sMasterConfig.MasterSlaveMode = TIM_MASTERSLAVEMODE_DISABLE;
  if (HAL_TIMEx_MasterConfigSynchronization(&htim1, &sMasterConfig) != HAL_OK)
  {
    _Error_Handler(__FILE__, __LINE__);
  }

}

/* TIM2 init function */
static void MX_TIM2_Init(void)
{

  TIM_ClockConfigTypeDef sClockSourceConfig;
  TIM_MasterConfigTypeDef sMasterConfig;

  htim2.Instance = TIM2;
  htim2.Init.Prescaler = 71;
  htim2.Init.CounterMode = TIM_COUNTERMODE_UP;
  htim2.Init.Period = 999;
  htim2.Init.ClockDivision = TIM_CLOCKDIVISION_DIV1;
  htim2.Init.AutoReloadPreload = TIM_AUTORELOAD_PRELOAD_DISABLE;
  if (HAL_TIM_Base_Init(&htim2) != HAL_OK)
  {
    _Error_Handler(__FILE__, __LINE__);
  }

  sClockSourceConfig.ClockSource = TIM_CLOCKSOURCE_INTERNAL;
  if (HAL_TIM_ConfigClockSource(&htim2, &sClockSourceConfig) != HAL_OK)
  {
    _Error_Handler(__FILE__, __LINE__);
  }

  sMasterConfig.MasterOutputTrigger = TIM_TRGO_RESET;
  sMasterConfig.MasterSlaveMode = TIM_MASTERSLAVEMODE_DISABLE;
  if (HAL_TIMEx_MasterConfigSynchronization(&htim2, &sMasterConfig) != HAL_OK)
  {
    _Error_Handler(__FILE__, __LINE__);
  }

}

/* TIM3 init function */
static void MX_TIM3_Init(void)
{

  TIM_ClockConfigTypeDef sClockSourceConfig;
  TIM_MasterConfigTypeDef sMasterConfig;

  htim3.Instance = TIM3;
  htim3.Init.Prescaler = 71;
  htim3.Init.CounterMode = TIM_COUNTERMODE_UP;
  htim3.Init.Period = 999;
  htim3.Init.ClockDivision = TIM_CLOCKDIVISION_DIV1;
  htim3.Init.AutoReloadPreload = TIM_AUTORELOAD_PRELOAD_DISABLE;
  if (HAL_TIM_Base_Init(&htim3) != HAL_OK)
  {
    _Error_Handler(__FILE__, __LINE__);
  }

  sClockSourceConfig.ClockSource = TIM_CLOCKSOURCE_INTERNAL;
  if (HAL_TIM_ConfigClockSource(&htim3, &sClockSourceConfig) != HAL_OK)
  {
    _Error_Handler(__FILE__, __LINE__);
  }

  sMasterConfig.MasterOutputTrigger = TIM_TRGO_RESET;
  sMasterConfig.MasterSlaveMode = TIM_MASTERSLAVEMODE_DISABLE;
  if (HAL_TIMEx_MasterConfigSynchronization(&htim3, &sMasterConfig) != HAL_OK)
  {
    _Error_Handler(__FILE__, __LINE__);
  }

}

/* USART1 init function */
static void MX_USART1_UART_Init(void)
{

  huart1.Instance = USART1;
  huart1.Init.BaudRate = 9600;
  huart1.Init.WordLength = UART_WORDLENGTH_8B;
  huart1.Init.StopBits = UART_STOPBITS_1;
  huart1.Init.Parity = UART_PARITY_NONE;
  huart1.Init.Mode = UART_MODE_TX_RX;
  huart1.Init.HwFlowCtl = UART_HWCONTROL_NONE;
  huart1.Init.OverSampling = UART_OVERSAMPLING_16;
  if (HAL_UART_Init(&huart1) != HAL_OK)
  {
    _Error_Handler(__FILE__, __LINE__);
  }

}

static void MX_DMA_Init(void)
{
  /* DMA controller clock enable */
  __HAL_RCC_DMA1_CLK_ENABLE();

  /* DMA interrupt init */
  /* DMA1_Channel1_IRQn interrupt configuration */
  HAL_NVIC_SetPriority(DMA1_Channel1_IRQn, 4, 0);
  HAL_NVIC_EnableIRQ(DMA1_Channel1_IRQn);

}

/** Configure pins as
        * Analog
        * Input
        * Output
        * EVENT_OUT
        * EXTI
*/
static void MX_GPIO_Init(void)
{

  GPIO_InitTypeDef GPIO_InitStruct;

  /* GPIO Ports Clock Enable */
  __HAL_RCC_GPIOE_CLK_ENABLE();
  __HAL_RCC_GPIOC_CLK_ENABLE();
  __HAL_RCC_GPIOA_CLK_ENABLE();
  __HAL_RCC_GPIOB_CLK_ENABLE();
  __HAL_RCC_GPIOD_CLK_ENABLE();

  /*Configure GPIO pin Output Level */
  HAL_GPIO_WritePin(GPIOE, OUTPUT_SEATLED5_Pin|OUTPUT_SEATLED4_Pin|OUTPUT_SEATLED3_Pin|OUTPUT_573LE1_Pin
                          |OE_CE_Pin, GPIO_PIN_RESET);

  /*Configure GPIO pin Output Level */
  HAL_GPIO_WritePin(GPIOC, OUTPUT_SEATLED2_Pin|OUTPUT_SEATLED1_Pin|OUTPUT_CLR1_Pin|OUTPUT_DIR3_Pin
                          |OUTPUT_DIR2_Pin, GPIO_PIN_RESET);

  /*Configure GPIO pin Output Level */
  HAL_GPIO_WritePin(GPIOA, OUTPUT_PUL1_Pin|OUTPUT_CLR2_Pin, GPIO_PIN_RESET);

  /*Configure GPIO pin Output Level */
  HAL_GPIO_WritePin(GPIOB, OUTPUT_PUL2_Pin|OUTPUT_LED0_Pin|OUTPUT_LED1_Pin|OUTPUT_PUL3_Pin, GPIO_PIN_RESET);

  /*Configure GPIO pin Output Level */
  HAL_GPIO_WritePin(GPIOE, Uplimit1_Pin|Downlimit1_Pin|Uplimit2_Pin|Downlimit2_Pin
                          |Uplimit3_Pin|Downlimit3_Pin, GPIO_PIN_SET);

  /*Configure GPIO pin Output Level */
  HAL_GPIO_WritePin(GPIOD, OUTPUT_573LE2_Pin|OUTPUT_573LE3_Pin|OUTPUT_DIR1_Pin|OUTPUT_CLR3_Pin
                          |OUTPUT_NUP3_Pin|OUTPUT_NDOWN3_Pin|OUTPUT_NUP2_Pin|OUTPUT_NDOWN2_Pin
                          |OUTPUT_NUP1_Pin|OUTPUT_NDOWN1_Pin, GPIO_PIN_RESET);

  /*Configure GPIO pin Output Level */
  HAL_GPIO_WritePin(OUTPUT_485RW_GPIO_Port, OUTPUT_485RW_Pin, GPIO_PIN_SET);

  /*Configure GPIO pin Output Level */
  HAL_GPIO_WritePin(GPIOB, OUTPUT_SP8_Pin|OUTPUT_SP7_Pin|OUTPUT_SP6_Pin|OUTPUT_SP5_Pin
                          |OUTPUT_SP4_Pin|OUTPUT_SP3_Pin, GPIO_PIN_SET);

  /*Configure GPIO pins : OUTPUT_SEATLED5_Pin OUTPUT_SEATLED4_Pin OUTPUT_SEATLED3_Pin OUTPUT_573LE1_Pin
                           Uplimit1_Pin Downlimit1_Pin Uplimit2_Pin Downlimit2_Pin
                           Uplimit3_Pin Downlimit3_Pin */
  GPIO_InitStruct.Pin = OUTPUT_SEATLED5_Pin|OUTPUT_SEATLED4_Pin|OUTPUT_SEATLED3_Pin|OUTPUT_573LE1_Pin
                          |Uplimit1_Pin|Downlimit1_Pin|Uplimit2_Pin|Downlimit2_Pin
                          |Uplimit3_Pin|Downlimit3_Pin;
  GPIO_InitStruct.Mode = GPIO_MODE_OUTPUT_PP;
  GPIO_InitStruct.Speed = GPIO_SPEED_FREQ_HIGH;
  HAL_GPIO_Init(GPIOE, &GPIO_InitStruct);

  /*Configure GPIO pins : OUTPUT_SEATLED2_Pin OUTPUT_SEATLED1_Pin OUTPUT_CLR1_Pin OUTPUT_DIR3_Pin
                           OUTPUT_DIR2_Pin */
  GPIO_InitStruct.Pin = OUTPUT_SEATLED2_Pin|OUTPUT_SEATLED1_Pin|OUTPUT_CLR1_Pin|OUTPUT_DIR3_Pin
                          |OUTPUT_DIR2_Pin;
  GPIO_InitStruct.Mode = GPIO_MODE_OUTPUT_PP;
  GPIO_InitStruct.Speed = GPIO_SPEED_FREQ_HIGH;
  HAL_GPIO_Init(GPIOC, &GPIO_InitStruct);

  /*Configure GPIO pins : EXTI_UPLIMIT1_Pin EXTI_DOWNLIMIT1_Pin EXTI_UPLIMIT2_Pin EXTI_DOWNLIMIT2_Pin
                           EXTI_UPLIMIT3_Pin EXTI_DOWNLIMIT3_Pin */
  GPIO_InitStruct.Pin = EXTI_UPLIMIT1_Pin|EXTI_DOWNLIMIT1_Pin|EXTI_UPLIMIT2_Pin|EXTI_DOWNLIMIT2_Pin
                          |EXTI_UPLIMIT3_Pin|EXTI_DOWNLIMIT3_Pin;
  GPIO_InitStruct.Mode = GPIO_MODE_IT_RISING_FALLING;
  GPIO_InitStruct.Pull = GPIO_NOPULL;
  HAL_GPIO_Init(GPIOC, &GPIO_InitStruct);

  /*Configure GPIO pins : OUTPUT_PUL1_Pin OUTPUT_485RW_Pin OUTPUT_CLR2_Pin */
  GPIO_InitStruct.Pin = OUTPUT_PUL1_Pin|OUTPUT_485RW_Pin|OUTPUT_CLR2_Pin;
  GPIO_InitStruct.Mode = GPIO_MODE_OUTPUT_PP;
  GPIO_InitStruct.Speed = GPIO_SPEED_FREQ_HIGH;
  HAL_GPIO_Init(GPIOA, &GPIO_InitStruct);

  /*Configure GPIO pins : OUTPUT_PUL2_Pin OUTPUT_LED0_Pin OUTPUT_LED1_Pin OUTPUT_SP8_Pin
                           OUTPUT_SP7_Pin OUTPUT_SP6_Pin OUTPUT_SP5_Pin OUTPUT_SP4_Pin
                           OUTPUT_PUL3_Pin OUTPUT_SP3_Pin */
  GPIO_InitStruct.Pin = OUTPUT_PUL2_Pin|OUTPUT_LED0_Pin|OUTPUT_LED1_Pin|OUTPUT_SP8_Pin
                          |OUTPUT_SP7_Pin|OUTPUT_SP6_Pin|OUTPUT_SP5_Pin|OUTPUT_SP4_Pin
                          |OUTPUT_PUL3_Pin|OUTPUT_SP3_Pin;
  GPIO_InitStruct.Mode = GPIO_MODE_OUTPUT_PP;
  GPIO_InitStruct.Speed = GPIO_SPEED_FREQ_HIGH;
  HAL_GPIO_Init(GPIOB, &GPIO_InitStruct);

  /*Configure GPIO pin : INPUT_SW_Pin */
  GPIO_InitStruct.Pin = INPUT_SW_Pin;
  GPIO_InitStruct.Mode = GPIO_MODE_INPUT;
  GPIO_InitStruct.Pull = GPIO_NOPULL;
  HAL_GPIO_Init(INPUT_SW_GPIO_Port, &GPIO_InitStruct);

  /*Configure GPIO pins : OUTPUT_573LE2_Pin OUTPUT_573LE3_Pin OUTPUT_DIR1_Pin OUTPUT_CLR3_Pin
                           OUTPUT_NUP3_Pin OUTPUT_NDOWN3_Pin OUTPUT_NUP2_Pin OUTPUT_NDOWN2_Pin
                           OUTPUT_NUP1_Pin OUTPUT_NDOWN1_Pin */
  GPIO_InitStruct.Pin = OUTPUT_573LE2_Pin|OUTPUT_573LE3_Pin|OUTPUT_DIR1_Pin|OUTPUT_CLR3_Pin
                          |OUTPUT_NUP3_Pin|OUTPUT_NDOWN3_Pin|OUTPUT_NUP2_Pin|OUTPUT_NDOWN2_Pin
                          |OUTPUT_NUP1_Pin|OUTPUT_NDOWN1_Pin;
  GPIO_InitStruct.Mode = GPIO_MODE_OUTPUT_PP;
  GPIO_InitStruct.Speed = GPIO_SPEED_FREQ_HIGH;
  HAL_GPIO_Init(GPIOD, &GPIO_InitStruct);

  /*Configure GPIO pins : INPUT_BCD1_1_Pin INPUT_BCD2_1_Pin INPUT_BCD4_1_Pin INPUT_BCD8_1_Pin */
  GPIO_InitStruct.Pin = INPUT_BCD1_1_Pin|INPUT_BCD2_1_Pin|INPUT_BCD4_1_Pin|INPUT_BCD8_1_Pin;
  GPIO_InitStruct.Mode = GPIO_MODE_INPUT;
  GPIO_InitStruct.Pull = GPIO_NOPULL;
  HAL_GPIO_Init(GPIOD, &GPIO_InitStruct);

  /*Configure GPIO pins : INPUT_BCD1_2_Pin INPUT_BCD2_2_Pin INPUT_BCD4_2_Pin INPUT_BCD8_2_Pin */
  GPIO_InitStruct.Pin = INPUT_BCD1_2_Pin|INPUT_BCD2_2_Pin|INPUT_BCD4_2_Pin|INPUT_BCD8_2_Pin;
  GPIO_InitStruct.Mode = GPIO_MODE_INPUT;
  GPIO_InitStruct.Pull = GPIO_NOPULL;
  HAL_GPIO_Init(GPIOC, &GPIO_InitStruct);

  /*Configure GPIO pin : OE_CE_Pin */
  GPIO_InitStruct.Pin = OE_CE_Pin;
  GPIO_InitStruct.Mode = GPIO_MODE_OUTPUT_PP;
  GPIO_InitStruct.Speed = GPIO_SPEED_FREQ_LOW;
  HAL_GPIO_Init(OE_CE_GPIO_Port, &GPIO_InitStruct);

  /* EXTI interrupt init*/
  HAL_NVIC_SetPriority(EXTI0_IRQn, 0, 0);
  HAL_NVIC_EnableIRQ(EXTI0_IRQn);

  HAL_NVIC_SetPriority(EXTI1_IRQn, 0, 0);
  HAL_NVIC_EnableIRQ(EXTI1_IRQn);

  HAL_NVIC_SetPriority(EXTI2_IRQn, 0, 0);
  HAL_NVIC_EnableIRQ(EXTI2_IRQn);

  HAL_NVIC_SetPriority(EXTI3_IRQn, 0, 0);
  HAL_NVIC_EnableIRQ(EXTI3_IRQn);

  HAL_NVIC_SetPriority(EXTI4_IRQn, 0, 0);
  HAL_NVIC_EnableIRQ(EXTI4_IRQn);

  HAL_NVIC_SetPriority(EXTI9_5_IRQn, 0, 0);
  HAL_NVIC_EnableIRQ(EXTI9_5_IRQn);

}

void _Error_Handler(char * file, int line)
{
  while(1)
  {
  }
}

/************************ (C) COPYRIGHT STMicroelectronics *****END OF FILE****/
